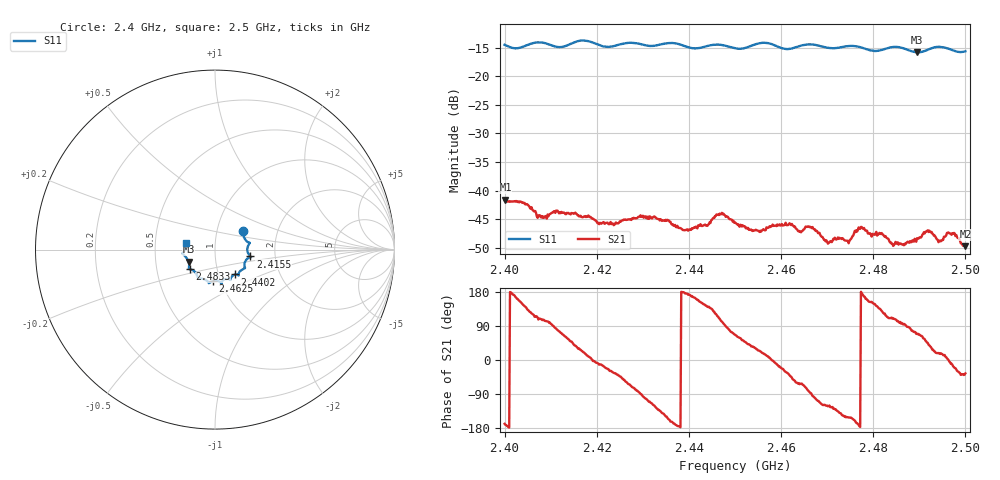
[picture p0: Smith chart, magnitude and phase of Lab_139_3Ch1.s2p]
# Hz S RI R 50
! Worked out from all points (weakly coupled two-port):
!   601 points, 2.4 GHz to 2.5 GHz, reference 50 ohm
!   highest |S21| = -41.60 dB at 2.4002 GHz (marker M1); lowest = -49.7 dB at 2.5 GHz (marker M2)
!   lowest |S11| = -15.8 dB at 2.4895 GHz (marker M3), VSWR 1.39, Z = 36.8 - j5.02 ohm
!   |S11| at or under -10 dB: start of sweep to end of sweep
!   S12 and S22 are empty: the file has one direction only
!   S11 on the Smith chart (normalised r, x): 2.4 GHz: 1.33, +0.29; 2.4155 GHz: 1.48, -0.12; 2.4402 GHz: 1.20, -0.34; 2.4625 GHz: 0.92, -0.33; 2.4833 GHz: 0.74, -0.17; 2.5 GHz: 0.72, +0.06
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2.4e9  0.1563 0.105  -0.00802 -0.00164  0 0  0 0
2.400167e9  0.1563 0.1025  -0.00822 -0.0013  0 0  0 0
2.408167e9  0.1936 0.0362  -0.00153 0.00559  0 0  0 0
2.4155e9  0.1969 -0.0382  0.00508 0.00372  0 0  0 0
2.416667e9  0.201 -0.0423  0.00535 0.00246  0 0  0 0
2.423333e9  0.164 -0.0795  0.0044 -0.00269  0 0  0 0
2.433333e9  0.1322 -0.1334  -0.00375 -0.00421  0 0  0 0
2.440167e9  0.1119 -0.1385  -0.00453 0.000636  0 0  0 0
2.446667e9  0.084 -0.1691  -0.00203 0.00595  0 0  0 0
2.45e9  0.0646 -0.1637  0.00208 0.00484  0 0  0 0
2.455333e9  0.0369 -0.191  0.00396 0.00178  0 0  0 0
2.4625e9  -0.0111 -0.1756  0.00316 -0.00383  0 0  0 0
2.466667e9  -0.0346 -0.1868  -0.0001 -0.00469  0 0  0 0
2.470167e9  -0.05 -0.1705  -0.00183 -0.00291  0 0  0 0
2.474667e9  -0.0903 -0.1602  -0.00305 -0.00163  0 0  0 0
2.477333e9  -0.0978 -0.15  -0.00481 5.67e-06  0 0  0 0
2.483333e9  -0.1393 -0.1097  -0.00132 0.00352  0 0  0 0
2.4895e9  -0.1476 -0.0664  0.00138 0.00357  0 0  0 0
2.491833e9  -0.1665 -0.0374  0.00316 0.00319  0 0  0 0
2.494333e9  -0.1797 -0.0216  0.00346 0.00107  0 0  0 0
2.497167e9  -0.1692 -0.00374  0.00414 -0.000909  0 0  0 0
2.5e9  -0.1609 0.0388  0.00266 -0.00189  0 0  0 0
